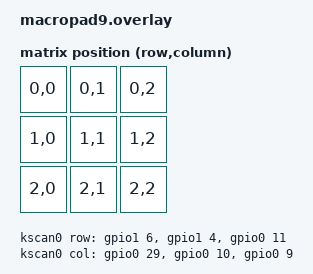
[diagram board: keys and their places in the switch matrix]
#include <dt-bindings/zmk/matrix_transform.h>

/ {
    chosen {
        zmk,kscan = &kscan0;
        zmk,matrix-transform = &default_transform;
    };

    default_transform: matrix_transform {
        compatible = "zmk,matrix-transform";
        columns = <3>;
        rows = <3>;
        map = <
            RC(0,0) RC(0,1) RC(0,2)
            RC(1,0) RC(1,1) RC(1,2)
            RC(2,0) RC(2,1) RC(2,2)
        >;
    };

    kscan0: kscan {
        compatible = "zmk,kscan-gpio-matrix";
        label = "KSCAN";
        
        // CAMBIO 1: Invertimos la dirección para limpiar el ruido
        diode-direction = "col2row"; 

        // CAMBIO 2: Invertimos los estados de los pines para que coincida con col2row
        row-gpios
            = <&gpio1 6 (GPIO_ACTIVE_HIGH | GPIO_PULL_DOWN)>
            , <&gpio1 4 (GPIO_ACTIVE_HIGH | GPIO_PULL_DOWN)>
            , <&gpio0 11 (GPIO_ACTIVE_HIGH | GPIO_PULL_DOWN)>
            ;

        col-gpios
            = <&gpio0 29 (GPIO_ACTIVE_HIGH | GPIO_PULL_UP)>
            , <&gpio0 10 (GPIO_ACTIVE_HIGH | GPIO_PULL_UP)>
            , <&gpio0 9 (GPIO_ACTIVE_HIGH | GPIO_PULL_UP)>
            ;
    };
};
